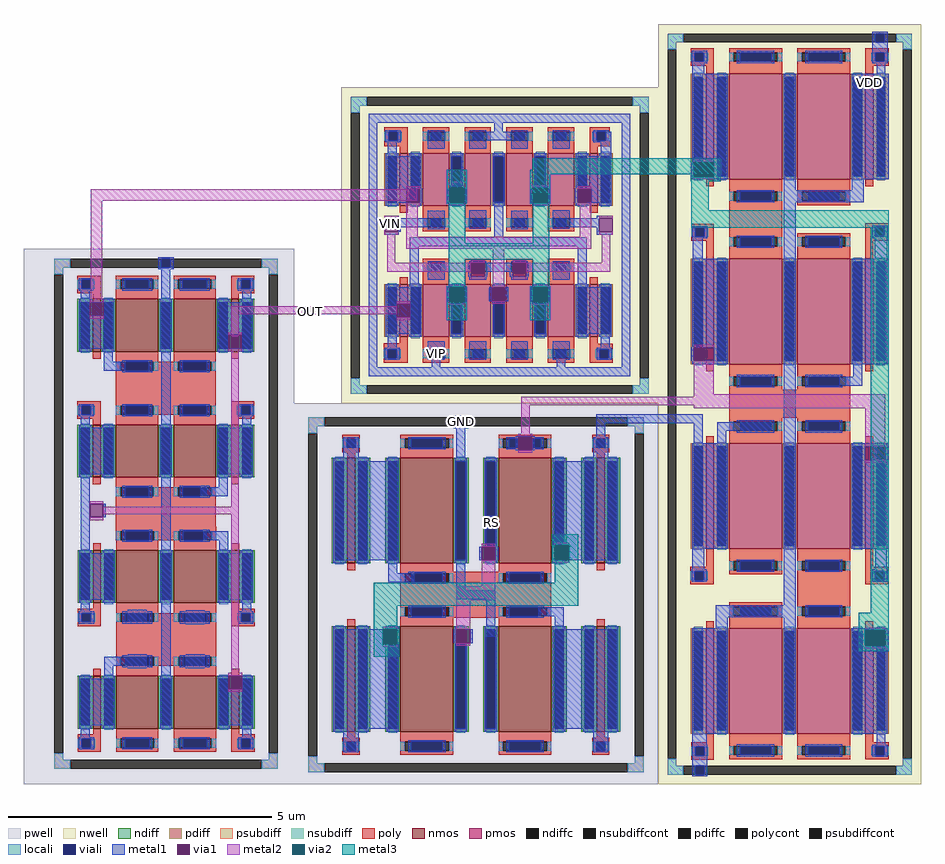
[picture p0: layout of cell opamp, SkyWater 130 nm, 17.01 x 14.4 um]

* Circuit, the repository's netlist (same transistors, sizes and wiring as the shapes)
** sch_path: /home/surya/opamp/mag/opamp.sch
.subckt opamp VDD GND RS OUT VIP VIN
*.PININFO VDD:B GND:B RS:B OUT:B VIP:I VIN:I
x1 VDD net1 net2 net3 pmoscs
x2 net1 VIP VIN VDD OUT net4 pmosamp
x3 net4 OUT GND nmosamp
x4 net2 net3 RS GND nmoscs
.ends

* expanding   symbol:  pmoscs.sym # of pins=4
** sym_path: /home/surya/opamp/mag/pmoscs.sym
** sch_path: /home/surya/opamp/mag/pmoscs.sch
.subckt pmoscs vdd D5 D1 D2
*.PININFO vdd:B D5:B D2:B D1:B
XM1 D1 D2 vdd vdd sky130_fd_pr__pfet_01v8 L=1 W=2 nf=1 m=2
XM2 D2 D2 vdd vdd sky130_fd_pr__pfet_01v8 L=1 W=2 nf=1 m=2
XM5 D5 D2 vdd vdd sky130_fd_pr__pfet_01v8 L=1 W=2 nf=1 m=2
XM3 vdd vdd vdd vdd sky130_fd_pr__pfet_01v8 L=0.15 W=2 nf=1 m=2
XM4 D1 D1 D1 vdd sky130_fd_pr__pfet_01v8 L=0.15 W=2 nf=1 m=2
XM6 D2 D2 D2 vdd sky130_fd_pr__pfet_01v8 L=0.15 W=2 nf=1 m=2
XM7 D5 D5 D5 vdd sky130_fd_pr__pfet_01v8 L=0.15 W=2 nf=1 m=2
XM8 vdd vdd vdd vdd sky130_fd_pr__pfet_01v8 L=1 W=2 nf=1 m=2
.ends


* expanding   symbol:  pmosamp.sym # of pins=6
** sym_path: /home/surya/opamp/mag/pmosamp.sym
** sch_path: /home/surya/opamp/mag/pmosamp.sch
.subckt pmosamp S67 vip vin VDD OUT D6
*.PININFO vip:I vin:I D6:B OUT:B VDD:B S67:B
XM6 D6 vin S67 VDD sky130_fd_pr__pfet_01v8 L=0.5 W=1 nf=1 m=4
XM7 OUT vip S67 VDD sky130_fd_pr__pfet_01v8 L=0.5 W=1 nf=1 m=4
XM1 D6 D6 D6 VDD sky130_fd_pr__pfet_01v8 L=0.15 W=1 nf=1 m=2
XM2 OUT OUT OUT VDD sky130_fd_pr__pfet_01v8 L=0.15 W=1 nf=1 m=2
.ends


* expanding   symbol:  nmosamp.sym # of pins=3
** sym_path: /home/surya/opamp/mag/nmosamp.sym
** sch_path: /home/surya/opamp/mag/nmosamp.sch
.subckt nmosamp D8 OUT gnd
*.PININFO gnd:B D8:B OUT:B
XM8 D8 D8 gnd gnd sky130_fd_pr__nfet_01v8 L=0.8 W=1 nf=1 m=4
XM9 OUT D8 gnd gnd sky130_fd_pr__nfet_01v8 L=0.8 W=1 nf=1 m=4
XM1 D8 D8 D8 gnd sky130_fd_pr__nfet_01v8 L=0.15 W=1 nf=1 m=4
XM2 OUT OUT OUT gnd sky130_fd_pr__nfet_01v8 L=0.15 W=1 nf=1 m=4
.ends


* expanding   symbol:  nmoscs.sym # of pins=4
** sym_path: /home/surya/opamp/mag/nmoscs.sym
** sch_path: /home/surya/opamp/mag/nmoscs.sch
.subckt nmoscs D3 D4 rs gnd
*.PININFO rs:B D3:B D4:B gnd:B
XM3 D3 D3 gnd gnd sky130_fd_pr__nfet_01v8 L=1 W=2 nf=1 m=2
XM4 D4 D3 rs gnd sky130_fd_pr__nfet_01v8 L=1 W=2 nf=1 m=2
XM1 D3 D3 D3 gnd sky130_fd_pr__nfet_01v8 L=0.15 W=2 nf=1 m=2
XM5 D4 D4 D4 gnd sky130_fd_pr__nfet_01v8 L=0.15 W=2 nf=1 m=2
.ends

.end

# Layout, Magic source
magic
tech sky130A
magscale 1 2
<< metal1 >>
rect 3190 2652 3220 2680
rect 241 1774 251 1826
rect 303 1774 313 1826
rect 1404 1768 1414 1820
rect 1466 1768 1476 1820
rect 1543 1613 1583 1647
rect 1640 1355 1674 1389
rect 2170 1367 2574 1401
rect 1865 1265 1875 1317
rect 1927 1265 1937 1317
rect 2170 1308 2204 1367
rect 2540 1253 2574 1367
rect 1755 968 1787 1017
<< via1 >>
rect 251 1774 303 1826
rect 1414 1768 1466 1820
rect 1875 1265 1927 1317
<< metal2 >>
rect 255 2211 1491 2254
rect 255 1836 298 2211
rect 1378 2105 1409 2144
rect 251 1826 303 1836
rect 1414 1820 1466 1830
rect 251 1764 303 1774
rect 786 1780 1414 1810
rect 786 1697 816 1780
rect 1414 1758 1466 1768
rect 1885 1436 2589 1468
rect 1885 1327 1917 1436
rect 1875 1317 1927 1327
rect 1875 1255 1927 1265
<< metal3 >>
rect 1930 2310 2616 2372
rect 1930 2239 1992 2310
use nmosamp  nmosamp_0
transform 1 0 292 0 1 1074
box -292 -1074 733 955
use nmoscs  nmoscs_0
transform 1 0 1370 0 1 748
box -346 -748 1034 694
use pmosamp  pmosamp_0
transform 1 0 1407 0 1 2075
box -203 -633 997 565
use pmoscs  pmoscs_0
transform 1 0 2584 0 1 1461
box -180 -1461 818 1419
<< labels >>
flabel metal2 1088 1792 1088 1792 0 FreeSans 2080 0 0 0 OUT
port 0 nsew
flabel metal1 3204 2658 3204 2658 0 FreeSans 2080 0 0 0 VDD
port 1 nsew
flabel metal1 1659 1372 1659 1372 0 FreeSans 2080 0 0 0 GND
port 2 nsew
flabel metal2 1389 2123 1389 2123 0 FreeSans 2080 0 0 0 VIN
port 3 nsew
flabel metal1 1563 1630 1563 1630 0 FreeSans 2080 0 0 0 VIP
port 4 nsew
flabel metal1 1773 991 1773 991 0 FreeSans 2080 0 0 0 RS
port 5 nsew
<< end >>

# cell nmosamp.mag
magic
tech sky130A
magscale 1 2
<< pwell >>
rect -292 -1074 733 955
<< psubdiff >>
rect -176 883 -116 917
rect 611 883 671 917
rect -176 857 -142 883
rect 637 857 671 883
rect -176 -983 -142 -957
rect 637 -983 671 -957
rect -176 -1017 -116 -983
rect 611 -1017 671 -983
<< psubdiffcont >>
rect -116 883 611 917
rect -176 -957 -142 857
rect 637 -957 671 857
rect -116 -1017 611 -983
<< poly >>
rect -88 836 0 852
rect -88 802 -72 836
rect -38 802 0 836
rect -88 786 0 802
rect -30 780 0 786
rect 494 836 582 852
rect 494 802 532 836
rect 566 802 582 836
rect 494 786 582 802
rect 494 784 524 786
rect -88 360 0 376
rect -88 326 -72 360
rect -38 326 0 360
rect 58 326 436 526
rect 494 360 582 376
rect 494 326 532 360
rect 566 326 582 360
rect -88 314 0 326
rect -88 310 -22 314
rect 494 310 582 326
rect 494 306 524 310
rect 58 -150 436 50
rect 495 -410 525 -384
rect -87 -411 -21 -410
rect -87 -426 1 -411
rect 495 -426 583 -410
rect -87 -460 -71 -426
rect -37 -460 1 -426
rect -87 -476 1 -460
rect 59 -626 437 -426
rect 495 -460 533 -426
rect 567 -460 583 -426
rect 495 -476 583 -460
rect -29 -886 1 -866
rect -87 -902 1 -886
rect -87 -936 -71 -902
rect -37 -936 1 -902
rect -87 -952 1 -936
rect 495 -886 525 -866
rect 495 -902 583 -886
rect 495 -936 533 -902
rect 567 -936 583 -902
rect 495 -952 583 -936
<< polycont >>
rect -72 802 -38 836
rect 532 802 566 836
rect -72 326 -38 360
rect 532 326 566 360
rect -71 -460 -37 -426
rect 533 -460 567 -426
rect -71 -936 -37 -902
rect 533 -936 567 -902
<< locali >>
rect -176 883 -116 917
rect 611 883 671 917
rect -176 857 -142 883
rect 637 857 671 883
rect -88 802 -72 836
rect -38 802 -22 836
rect 516 802 532 836
rect 566 802 582 836
rect -88 326 -72 360
rect -38 326 -22 360
rect 516 326 532 360
rect 566 326 582 360
rect -87 -460 -71 -426
rect -37 -460 -21 -426
rect 517 -460 533 -426
rect 567 -460 583 -426
rect -87 -936 -71 -902
rect -37 -936 -21 -902
rect 517 -936 533 -902
rect 567 -936 583 -902
rect -176 -983 -142 -957
rect 637 -983 671 -957
rect -176 -1017 -116 -983
rect 611 -1017 671 -983
<< viali >>
rect 230 883 264 917
rect -72 802 -38 836
rect 532 802 566 836
rect -72 326 -38 360
rect 532 326 566 360
rect -71 -460 -37 -426
rect 533 -460 567 -426
rect -71 -936 -37 -902
rect 533 -936 567 -902
<< metal1 >>
rect 218 917 276 923
rect 218 883 230 917
rect 264 883 276 917
rect 218 877 276 883
rect -84 836 -26 842
rect -84 802 -72 836
rect -38 802 -26 836
rect -84 796 -26 802
rect -76 752 -42 796
rect 230 752 264 877
rect 520 836 578 842
rect 520 802 532 836
rect 566 802 578 836
rect 520 796 578 802
rect 536 752 570 796
rect -76 576 46 752
rect 12 526 46 576
rect 12 492 86 526
rect -84 360 -26 366
rect -84 326 -72 360
rect -38 326 -26 360
rect -84 320 -26 326
rect -76 276 -42 320
rect -76 100 46 276
rect -76 -12 -41 100
rect -76 -64 -42 -12
rect 10 -64 20 -12
rect -76 -200 -41 -64
rect -76 -212 47 -200
rect -75 -376 47 -212
rect -75 -420 -41 -376
rect -83 -426 -25 -420
rect -83 -460 -71 -426
rect -37 -460 -25 -426
rect -83 -466 -25 -460
rect 103 -466 175 -414
rect 102 -592 174 -583
rect 13 -626 174 -592
rect 13 -676 47 -626
rect 102 -635 174 -626
rect -75 -852 47 -676
rect 230 -852 265 752
rect 448 628 570 752
rect 448 576 483 628
rect 535 576 570 628
rect 520 360 578 366
rect 520 326 532 360
rect 566 326 578 360
rect 520 320 578 326
rect 536 276 570 320
rect 448 100 570 276
rect 448 50 482 100
rect 379 16 482 50
rect 388 -150 483 -116
rect 449 -200 483 -150
rect 449 -376 571 -200
rect 322 -468 394 -416
rect 537 -420 571 -376
rect 521 -426 579 -420
rect 521 -460 533 -426
rect 567 -460 579 -426
rect 521 -466 579 -460
rect 322 -635 394 -583
rect 474 -676 484 -663
rect 449 -715 484 -676
rect 536 -676 546 -663
rect 536 -715 571 -676
rect 449 -852 571 -715
rect -75 -896 -41 -852
rect 537 -896 571 -854
rect -83 -902 -25 -896
rect -83 -936 -71 -902
rect -37 -936 -25 -902
rect -83 -942 -25 -936
rect 521 -902 579 -896
rect 521 -936 533 -902
rect 567 -936 579 -902
rect 521 -942 579 -936
<< via1 >>
rect -42 -64 10 -12
rect 483 576 535 628
rect 484 -715 536 -663
<< metal2 >>
rect 483 628 535 638
rect 483 566 535 576
rect -42 -12 10 -2
rect 495 -24 523 566
rect 10 -52 523 -24
rect -42 -74 10 -64
rect 495 -653 523 -52
rect 484 -663 536 -653
rect 484 -725 536 -715
use sky130_fd_pr__nfet_01v8_5MNGEB  sky130_fd_pr__nfet_01v8_5MNGEB_0
transform 1 0 247 0 1 664
box -247 -188 247 188
use sky130_fd_pr__nfet_01v8_5MNGEB  sky130_fd_pr__nfet_01v8_5MNGEB_1
transform 1 0 247 0 1 188
box -247 -188 247 188
use sky130_fd_pr__nfet_01v8_5MNGEB  sky130_fd_pr__nfet_01v8_5MNGEB_2
transform 1 0 248 0 1 -288
box -247 -188 247 188
use sky130_fd_pr__nfet_01v8_5MNGEB  sky130_fd_pr__nfet_01v8_5MNGEB_3
transform 1 0 248 0 1 -764
box -247 -188 247 188
use sky130_fd_pr__nfet_01v8_6H9P4D  sky130_fd_pr__nfet_01v8_6H9P4D_0
transform 1 0 -14 0 1 -764
box -73 -126 73 126
use sky130_fd_pr__nfet_01v8_6H9P4D  sky130_fd_pr__nfet_01v8_6H9P4D_1
transform 1 0 -14 0 1 -288
box -73 -126 73 126
use sky130_fd_pr__nfet_01v8_6H9P4D  sky130_fd_pr__nfet_01v8_6H9P4D_2
transform 1 0 510 0 1 -288
box -73 -126 73 126
use sky130_fd_pr__nfet_01v8_6H9P4D  sky130_fd_pr__nfet_01v8_6H9P4D_3
transform 1 0 509 0 1 188
box -73 -126 73 126
use sky130_fd_pr__nfet_01v8_6H9P4D  sky130_fd_pr__nfet_01v8_6H9P4D_4
transform 1 0 509 0 1 664
box -73 -126 73 126
use sky130_fd_pr__nfet_01v8_6H9P4D  sky130_fd_pr__nfet_01v8_6H9P4D_5
transform 1 0 -15 0 1 664
box -73 -126 73 126
use sky130_fd_pr__nfet_01v8_6H9P4D  sky130_fd_pr__nfet_01v8_6H9P4D_6
transform 1 0 -15 0 1 188
box -73 -126 73 126
use sky130_fd_pr__nfet_01v8_6H9P4D  sky130_fd_pr__nfet_01v8_6H9P4D_7
transform 1 0 510 0 1 -764
box -73 -126 73 126
<< labels >>
flabel viali 246 899 246 899 0 FreeSans 480 0 0 0 GND
port 0 nsew
flabel metal1 -21 659 -21 659 0 FreeSans 480 0 0 0 D8
port 1 nsew
flabel metal1 511 668 511 668 0 FreeSans 480 0 0 0 OUT
port 2 nsew
<< end >>

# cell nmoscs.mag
magic
tech sky130A
magscale 1 2
<< pwell >>
rect -346 -748 1034 694
<< psubdiff >>
rect -291 607 -231 641
rect 919 607 979 641
rect -291 581 -257 607
rect 945 581 979 607
rect -291 -669 -257 -643
rect 945 -669 979 -643
rect -291 -703 -231 -669
rect 919 -703 979 -669
<< psubdiffcont >>
rect -231 607 919 641
rect -291 -643 -257 581
rect 945 -643 979 581
rect -231 -703 919 -669
<< poly >>
rect 58 -118 630 56
<< locali >>
rect -291 607 -231 641
rect 919 607 979 641
rect -291 581 -257 607
rect -291 -669 -257 -643
rect 945 581 979 607
rect 945 -669 979 -643
rect -291 -703 -231 -669
rect 919 -703 979 -669
<< viali >>
rect 270 607 304 641
<< metal1 >>
rect 258 641 316 647
rect 258 607 270 641
rect 304 607 316 641
rect 258 601 316 607
rect -158 476 -100 566
rect 270 476 304 601
rect 788 476 846 566
rect -190 106 45 476
rect 642 152 878 476
rect -190 100 46 106
rect 12 50 46 100
rect 12 16 110 50
rect 270 -13 304 101
rect 356 100 366 152
rect 418 100 428 152
rect 632 100 642 152
rect 694 100 878 152
rect 270 -47 418 -13
rect -190 -214 -6 -162
rect 46 -214 56 -162
rect 260 -214 270 -162
rect 322 -214 332 -162
rect 384 -190 418 -47
rect 580 -112 676 -78
rect 642 -162 676 -112
rect -190 -538 46 -214
rect 642 -538 878 -162
rect -158 -628 -100 -538
rect 788 -628 846 -538
<< via1 >>
rect 366 100 418 152
rect 642 100 694 152
rect -6 -214 46 -162
rect 270 -214 322 -162
<< metal2 >>
rect 366 152 418 162
rect 366 1 418 100
rect 642 156 698 166
rect 642 90 698 100
rect 270 -51 418 1
rect -10 -162 46 -152
rect -10 -228 46 -218
rect 270 -162 322 -51
rect 270 -224 322 -214
<< via2 >>
rect 642 152 698 156
rect 642 100 694 152
rect 694 100 698 152
rect -10 -214 -6 -162
rect -6 -214 46 -162
rect -10 -218 46 -214
<< metal3 >>
rect 632 156 732 198
rect 632 100 642 156
rect 698 100 732 156
rect 632 88 732 100
rect 642 14 732 88
rect -44 -72 732 14
rect -44 -150 46 -72
rect -44 -162 56 -150
rect -44 -218 -10 -162
rect 46 -218 56 -162
rect -44 -266 56 -218
use sky130_fd_pr__nfet_01v8_7CP4KT  sky130_fd_pr__nfet_01v8_7CP4KT_0
transform 1 0 -129 0 1 319
box -73 -257 73 257
use sky130_fd_pr__nfet_01v8_7CP4KT  sky130_fd_pr__nfet_01v8_7CP4KT_1
transform 1 0 817 0 1 319
box -73 -257 73 257
use sky130_fd_pr__nfet_01v8_7CYQ2Z  sky130_fd_pr__nfet_01v8_7CYQ2Z_0
transform 1 0 817 0 1 -381
box -73 -257 73 257
use sky130_fd_pr__nfet_01v8_7CYQ2Z  sky130_fd_pr__nfet_01v8_7CYQ2Z_1
transform 1 0 -129 0 1 -381
box -73 -257 73 257
use sky130_fd_pr__nfet_01v8_8UMB6F  sky130_fd_pr__nfet_01v8_8UMB6F_0
transform 1 0 344 0 1 288
box -344 -288 344 288
use sky130_fd_pr__nfet_01v8_8UMB6F  sky130_fd_pr__nfet_01v8_8UMB6F_1
transform 1 0 344 0 1 -350
box -344 -288 344 288
<< labels >>
flabel metal1 24 61 24 61 0 FreeSans 1600 0 0 0 D3
port 0 nsew
flabel metal1 292 565 292 565 0 FreeSans 1600 0 0 0 GND
port 1 nsew
flabel metal2 299 -137 299 -137 0 FreeSans 1600 0 0 0 RS
port 2 nsew
flabel metal3 696 31 696 31 0 FreeSans 1600 0 0 0 D4
port 3 nsew
<< end >>

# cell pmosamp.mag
magic
tech sky130A
magscale 1 2
<< nwell >>
rect -203 -633 997 565
<< nsubdiff >>
rect -167 495 -107 529
rect 901 495 961 529
rect -167 469 -133 495
rect 927 469 961 495
rect -167 -563 -133 -537
rect 927 -563 961 -537
rect -167 -597 -107 -563
rect 901 -597 961 -563
<< nsubdiffcont >>
rect -107 495 901 529
rect -167 -537 -133 469
rect 927 -537 961 469
rect -107 -597 901 -563
<< poly >>
rect -40 397 48 413
rect -40 363 -24 397
rect 10 363 48 397
rect -40 342 48 363
rect 738 397 814 413
rect 738 363 764 397
rect 798 363 814 397
rect 738 341 814 363
rect -43 -428 48 -404
rect -43 -462 -27 -428
rect 7 -462 48 -428
rect -43 -478 48 -462
rect 738 -428 826 -407
rect 738 -462 776 -428
rect 810 -462 826 -428
rect 738 -478 826 -462
<< polycont >>
rect -24 363 10 397
rect 764 363 798 397
rect -27 -462 7 -428
rect 776 -462 810 -428
<< locali >>
rect -167 495 -107 529
rect 901 495 961 529
rect -167 469 -133 495
rect 927 469 961 495
rect -40 363 -24 397
rect 10 363 26 397
rect 748 363 764 397
rect 798 363 814 397
rect -43 -462 -27 -428
rect 7 -462 23 -428
rect 760 -462 776 -428
rect 810 -462 826 -428
rect -167 -563 -133 -537
rect 927 -563 961 -537
rect -167 -597 -107 -563
rect 901 -597 961 -563
<< viali >>
rect -24 363 10 397
rect 764 363 798 397
rect -27 -462 7 -428
rect 776 -462 810 -428
<< metal1 >>
rect -100 431 892 464
rect -100 -496 -67 431
rect -36 397 22 403
rect -36 363 -24 397
rect 10 363 22 397
rect -36 357 22 363
rect -27 307 6 357
rect 124 333 188 403
rect 282 397 346 403
rect 376 397 409 431
rect 440 397 504 403
rect 282 364 504 397
rect 282 333 346 364
rect 440 333 504 364
rect 598 333 662 403
rect 752 397 810 403
rect 752 363 764 397
rect 798 363 820 397
rect 752 357 820 363
rect 780 304 820 357
rect -28 180 94 304
rect 692 292 820 304
rect 692 180 814 292
rect -28 128 42 180
rect 94 128 104 180
rect 199 128 209 180
rect 261 128 271 180
rect -39 69 15 79
rect 124 69 188 98
rect 13 35 188 69
rect 13 17 22 35
rect 124 28 188 35
rect 282 29 346 99
rect -39 7 15 17
rect 376 -4 410 131
rect 515 128 525 180
rect 577 128 587 180
rect 682 128 692 180
rect 744 128 814 180
rect 440 28 504 98
rect 598 69 662 99
rect 764 69 826 79
rect 598 35 774 69
rect 598 29 662 35
rect 764 17 774 35
rect 764 7 826 17
rect 57 -38 726 -4
rect 57 -193 91 -38
rect 124 -164 188 -94
rect 282 -100 346 -94
rect 440 -100 504 -94
rect 278 -152 288 -100
rect 340 -134 446 -100
rect 340 -152 350 -134
rect 436 -152 446 -134
rect 498 -152 508 -100
rect 282 -164 346 -152
rect 440 -164 504 -152
rect 598 -164 662 -94
rect 692 -193 726 -38
rect -31 -369 91 -193
rect 199 -245 209 -193
rect 261 -245 271 -193
rect 357 -245 367 -193
rect 419 -245 429 -193
rect 515 -245 525 -193
rect 577 -245 587 -193
rect 689 -220 811 -193
rect 690 -225 811 -220
rect 689 -364 811 -225
rect 689 -369 814 -364
rect -28 -422 7 -369
rect -39 -428 19 -422
rect -39 -462 -27 -428
rect 7 -462 19 -428
rect -39 -468 19 -462
rect 124 -468 188 -398
rect 282 -468 346 -398
rect 440 -468 504 -398
rect 598 -468 662 -398
rect 780 -422 814 -369
rect 764 -428 822 -422
rect 764 -462 776 -428
rect 810 -462 822 -428
rect 764 -468 822 -462
rect 139 -496 172 -468
rect 613 -496 646 -468
rect 859 -496 892 431
rect -100 -529 892 -496
<< via1 >>
rect 42 128 94 180
rect 209 128 261 180
rect -39 17 13 69
rect 525 128 577 180
rect 692 128 744 180
rect 774 17 826 69
rect 288 -152 340 -100
rect 446 -152 498 -100
rect 209 -245 261 -193
rect 367 -245 419 -193
rect 525 -245 577 -193
<< metal2 >>
rect 218 194 252 207
rect 42 180 94 190
rect 42 116 94 128
rect 207 184 263 194
rect 207 118 263 128
rect 523 184 579 194
rect 523 118 579 128
rect 692 180 744 190
rect 692 118 744 128
rect -40 69 13 79
rect -40 17 -39 69
rect -40 7 13 17
rect -30 -100 2 7
rect 42 -2 86 116
rect 700 -2 744 118
rect 774 69 826 79
rect 774 7 826 17
rect 42 -46 744 -2
rect 288 -100 340 -90
rect -30 -134 288 -100
rect 288 -162 340 -152
rect 371 -183 415 -46
rect 446 -100 498 -90
rect 784 -100 816 7
rect 498 -134 816 -100
rect 446 -162 498 -152
rect 207 -193 263 -183
rect 207 -259 263 -249
rect 367 -193 419 -183
rect 367 -255 419 -245
rect 523 -193 579 -183
rect 523 -259 579 -249
<< via2 >>
rect 207 180 263 184
rect 207 128 209 180
rect 209 128 261 180
rect 261 128 263 180
rect 523 180 579 184
rect 523 128 525 180
rect 525 128 577 180
rect 577 128 579 180
rect 207 -245 209 -193
rect 209 -245 261 -193
rect 261 -245 263 -193
rect 207 -249 263 -245
rect 523 -245 525 -193
rect 525 -245 577 -193
rect 577 -245 579 -193
rect 523 -249 579 -245
<< metal3 >>
rect 197 184 273 253
rect 197 128 207 184
rect 263 128 273 184
rect 197 123 273 128
rect 513 184 589 253
rect 513 128 523 184
rect 579 128 589 184
rect 513 123 589 128
rect 204 -26 266 123
rect 523 -26 585 123
rect 204 -88 585 -26
rect 204 -188 266 -88
rect 523 -188 585 -88
rect 197 -193 273 -188
rect 197 -249 207 -193
rect 263 -249 273 -193
rect 197 -318 273 -249
rect 513 -193 589 -188
rect 513 -249 523 -193
rect 579 -249 589 -193
rect 513 -318 589 -249
use sky130_fd_pr__pfet_01v8_2XUZHN  sky130_fd_pr__pfet_01v8_2XUZHN_0
transform 1 0 753 0 1 -281
box -109 -162 109 162
use sky130_fd_pr__pfet_01v8_2XUZHN  sky130_fd_pr__pfet_01v8_2XUZHN_1
transform 1 0 753 0 1 216
box -109 -162 109 162
use sky130_fd_pr__pfet_01v8_2XUZHN  sky130_fd_pr__pfet_01v8_2XUZHN_2
transform 1 0 33 0 1 216
box -109 -162 109 162
use sky130_fd_pr__pfet_01v8_2XUZHN  sky130_fd_pr__pfet_01v8_2XUZHN_3
transform 1 0 33 0 1 -281
box -109 -162 109 162
use sky130_fd_pr__pfet_01v8_V8EW6L  sky130_fd_pr__pfet_01v8_V8EW6L_0
transform 1 0 393 0 1 216
box -381 -200 381 200
use sky130_fd_pr__pfet_01v8_V8EW6L  sky130_fd_pr__pfet_01v8_V8EW6L_1
transform 1 0 393 0 1 -281
box -381 -200 381 200
<< labels >>
flabel nsubdiffcont 391 507 391 507 0 FreeSans 480 0 0 0 VDD
port 0 nsew
flabel via1 75 151 75 151 0 FreeSans 480 0 0 0 D6
port 1 nsew
flabel via2 232 147 232 147 0 FreeSans 480 0 0 0 S67
port 2 nsew
flabel via1 -16 46 -16 46 0 FreeSans 480 0 0 0 VIN
port 3 nsew
flabel metal1 61 -272 61 -272 0 FreeSans 480 0 0 0 OUT
port 4 nsew
flabel metal1 159 -451 159 -451 0 FreeSans 480 0 0 0 VIP
port 5 nsew
<< end >>

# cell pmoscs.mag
magic
tech sky130A
magscale 1 2
<< nwell >>
rect -180 -1461 818 1419
<< nsubdiff >>
rect -144 1349 -84 1383
rect 722 1349 782 1383
rect -144 1323 -110 1349
rect 748 1323 782 1349
rect -144 -1391 -110 -1365
rect 748 -1391 782 -1365
rect -144 -1425 -84 -1391
rect 722 -1425 782 -1391
<< nsubdiffcont >>
rect -84 1349 722 1383
rect -144 -1365 -110 1323
rect 748 -1365 782 1323
rect -84 -1425 722 -1391
<< poly >>
rect -56 1311 32 1327
rect -56 1277 -40 1311
rect -6 1277 32 1311
rect -56 1261 32 1277
rect 2 1249 32 1261
rect 606 1311 694 1327
rect 606 1277 644 1311
rect 678 1277 694 1311
rect 606 1261 694 1277
rect 606 1238 636 1261
rect -55 647 32 663
rect -55 613 -39 647
rect -5 613 32 647
rect 90 627 290 733
rect 606 648 694 664
rect -55 597 32 613
rect 2 523 32 597
rect 606 614 644 648
rect 678 614 694 648
rect 606 598 694 614
rect 606 553 636 598
rect 90 -73 548 33
rect 2 -638 32 -570
rect -57 -654 32 -638
rect -57 -688 -41 -654
rect -7 -688 32 -654
rect 606 -638 636 -570
rect 606 -654 693 -638
rect -57 -704 32 -688
rect 348 -773 548 -667
rect 606 -688 643 -654
rect 677 -688 693 -654
rect 606 -704 693 -688
rect 2 -1303 32 -1270
rect -55 -1319 32 -1303
rect -55 -1353 -39 -1319
rect -5 -1353 32 -1319
rect -55 -1369 32 -1353
rect 606 -1302 636 -1296
rect 606 -1318 694 -1302
rect 606 -1352 644 -1318
rect 678 -1352 694 -1318
rect 606 -1368 694 -1352
<< polycont >>
rect -40 1277 -6 1311
rect 644 1277 678 1311
rect -39 613 -5 647
rect 644 614 678 648
rect -41 -688 -7 -654
rect 643 -688 677 -654
rect -39 -1353 -5 -1319
rect 644 -1352 678 -1318
<< locali >>
rect -144 1349 -84 1383
rect 722 1349 782 1383
rect -144 1323 -110 1349
rect 748 1323 782 1349
rect -56 1277 -40 1311
rect -6 1277 10 1311
rect 628 1277 644 1311
rect 678 1277 694 1311
rect -55 613 -39 647
rect -5 613 11 647
rect 628 614 644 648
rect 678 614 694 648
rect -57 -688 -41 -654
rect -7 -688 9 -654
rect 627 -688 643 -654
rect 677 -688 693 -654
rect -55 -1353 -39 -1319
rect -5 -1353 11 -1319
rect 628 -1352 644 -1318
rect 678 -1352 694 -1318
rect -144 -1391 -110 -1365
rect 748 -1391 782 -1365
rect -144 -1425 -84 -1391
rect 722 -1425 782 -1391
<< viali >>
rect 644 1349 678 1383
rect -40 1277 -6 1311
rect 644 1277 678 1311
rect -39 613 -5 647
rect 644 614 678 648
rect -41 -688 -7 -654
rect 643 -688 677 -654
rect -39 -1353 -5 -1319
rect 644 -1352 678 -1318
rect -39 -1425 -5 -1391
<< metal1 >>
rect 632 1383 690 1389
rect 632 1349 644 1383
rect 678 1349 690 1383
rect -52 1311 6 1317
rect -52 1277 -40 1311
rect -6 1277 6 1311
rect -52 1271 6 1277
rect 632 1311 690 1349
rect 632 1277 644 1311
rect 678 1277 690 1311
rect 632 1271 690 1277
rect -50 1230 -4 1271
rect 648 1230 682 1271
rect -50 894 84 1230
rect -54 842 -44 894
rect 32 842 84 894
rect -50 830 84 842
rect 296 789 342 1230
rect 554 830 694 1230
rect 554 789 600 830
rect 296 743 600 789
rect -51 647 7 653
rect -51 613 -39 647
rect -5 613 7 647
rect -51 607 7 613
rect -49 530 -10 607
rect -49 194 85 530
rect -54 142 -44 194
rect 32 142 85 194
rect -49 130 85 142
rect 44 -122 250 -90
rect 44 -170 78 -122
rect -50 -570 84 -170
rect -50 -648 -4 -570
rect -53 -654 5 -648
rect -53 -688 -41 -654
rect -7 -688 5 -654
rect -53 -694 5 -688
rect 296 -783 342 743
rect 632 648 690 654
rect 632 614 644 648
rect 678 614 690 648
rect 632 608 690 614
rect 642 530 689 608
rect 555 130 689 530
rect 560 83 594 130
rect 507 49 594 83
rect 554 -182 688 -170
rect 554 -234 606 -182
rect 682 -234 692 -182
rect 554 -570 688 -234
rect 643 -648 687 -570
rect 631 -654 689 -648
rect 631 -688 643 -654
rect 677 -688 689 -654
rect 631 -694 689 -688
rect 38 -829 342 -783
rect 38 -870 84 -829
rect -50 -1270 84 -870
rect 296 -1270 342 -829
rect 555 -882 689 -870
rect 555 -934 606 -882
rect 682 -934 692 -882
rect 555 -1270 689 -934
rect -50 -1313 5 -1270
rect 648 -1312 682 -1270
rect -51 -1319 7 -1313
rect -51 -1353 -39 -1319
rect -5 -1353 7 -1319
rect -51 -1391 7 -1353
rect 632 -1318 690 -1312
rect 632 -1352 644 -1318
rect 678 -1352 690 -1318
rect 632 -1358 690 -1352
rect -51 -1425 -39 -1391
rect -5 -1425 7 -1391
rect -51 -1431 7 -1425
<< via1 >>
rect -44 842 32 894
rect -44 142 32 194
rect 606 -234 682 -182
rect 606 -934 682 -882
<< metal2 >>
rect -44 896 32 906
rect -44 830 32 840
rect -44 194 32 204
rect -44 16 32 142
rect -44 -38 682 16
rect 606 -182 682 -38
rect 606 -244 682 -234
rect 606 -879 682 -869
rect 606 -947 682 -937
<< via2 >>
rect -44 894 32 896
rect -44 842 32 894
rect -44 840 32 842
rect 606 -882 682 -879
rect 606 -934 682 -882
rect 606 -937 682 -934
<< metal3 >>
rect -56 896 58 911
rect -56 840 -44 896
rect 32 840 58 896
rect -56 823 58 840
rect -55 713 12 823
rect -55 646 694 713
rect 627 -812 694 646
rect 580 -879 694 -812
rect 580 -937 606 -879
rect 682 -937 694 -879
rect 580 -958 694 -937
use sky130_fd_pr__pfet_01v8_2ZH9AN  sky130_fd_pr__pfet_01v8_2ZH9AN_0
transform 1 0 17 0 1 -370
box -109 -262 109 262
use sky130_fd_pr__pfet_01v8_2ZH9AN  sky130_fd_pr__pfet_01v8_2ZH9AN_1
transform 1 0 17 0 1 -1070
box -109 -262 109 262
use sky130_fd_pr__pfet_01v8_2ZH9AN  sky130_fd_pr__pfet_01v8_2ZH9AN_2
transform 1 0 621 0 1 -1070
box -109 -262 109 262
use sky130_fd_pr__pfet_01v8_2ZH9AN  sky130_fd_pr__pfet_01v8_2ZH9AN_3
transform 1 0 17 0 1 1030
box -109 -262 109 262
use sky130_fd_pr__pfet_01v8_2ZH9AN  sky130_fd_pr__pfet_01v8_2ZH9AN_4
transform 1 0 621 0 1 -370
box -109 -262 109 262
use sky130_fd_pr__pfet_01v8_2ZH9AN  sky130_fd_pr__pfet_01v8_2ZH9AN_5
transform 1 0 621 0 1 330
box -109 -262 109 262
use sky130_fd_pr__pfet_01v8_2ZH9AN  sky130_fd_pr__pfet_01v8_2ZH9AN_6
transform 1 0 17 0 1 330
box -109 -262 109 262
use sky130_fd_pr__pfet_01v8_2ZH9AN  sky130_fd_pr__pfet_01v8_2ZH9AN_7
transform 1 0 621 0 1 1030
box -109 -262 109 262
use sky130_fd_pr__pfet_01v8_SDE6B7  sky130_fd_pr__pfet_01v8_SDE6B7_0
transform 1 0 319 0 1 330
box -323 -300 323 300
use sky130_fd_pr__pfet_01v8_SDE6B7  sky130_fd_pr__pfet_01v8_SDE6B7_1
transform 1 0 319 0 1 -370
box -323 -300 323 300
use sky130_fd_pr__pfet_01v8_SDE6B7  sky130_fd_pr__pfet_01v8_SDE6B7_2
transform 1 0 319 0 1 1030
box -323 -300 323 300
use sky130_fd_pr__pfet_01v8_SDE6B7  sky130_fd_pr__pfet_01v8_SDE6B7_3
transform 1 0 319 0 1 -1070
box -323 -300 323 300
<< labels >>
flabel metal1 662 1338 662 1338 0 FreeSans 1600 0 0 0 VDD
port 0 nsew
flabel metal2 -10 42 -10 42 0 FreeSans 1600 0 0 0 D1
port 1 nsew
flabel metal1 568 74 568 74 0 FreeSans 1600 0 0 0 D2
port 2 nsew
flabel metal3 664 -762 664 -762 0 FreeSans 1600 0 0 0 D5
port 3 nsew
<< end >>

# cell sky130_fd_pr__pfet_01v8_2ZH9AN: kit device sky130_fd_pr__pfet_01v8, w 2 l 0.15 m 1 nf 1 diffcov 100 polycov 100 guard 0 glc 1 grc 1 gtc 1 gbc 1 tbcov 100 rlcov 100 topc 0 botc 0 poverlap 0 doverlap 1 lmin 0.15 wmin 0.42 compatible {sky130_fd_pr__pfet_01v8 sky130_fd_pr__pfet_01v8_lvt sky130_fd_pr__pfet_01v8_hvt sky130_fd_pr__pfet_g5v0d10v5} full_metal 1 viasrc 100 viadrn 100 viagate 100 viagb 0 viagr 0 viagl 0 viagt 0

# cell sky130_fd_pr__pfet_01v8_SDE6B7: kit device sky130_fd_pr__pfet_01v8, w 2 l 1 m 1 nf 2 diffcov 100 polycov 100 guard 0 glc 1 grc 1 gtc 1 gbc 1 tbcov 100 rlcov 100 topc 1 botc 1 poverlap 0 doverlap 1 lmin 0.15 wmin 0.42 compatible {sky130_fd_pr__pfet_01v8 sky130_fd_pr__pfet_01v8_lvt sky130_fd_pr__pfet_01v8_hvt sky130_fd_pr__pfet_g5v0d10v5} full_metal 1 viasrc 100 viadrn 100 viagate 70 viagb 0 viagr 0 viagl 0 viagt 0

# cell sky130_fd_pr__pfet_01v8_2XUZHN: kit device sky130_fd_pr__pfet_01v8, w 1 l 0.15 m 1 nf 1 diffcov 100 polycov 100 guard 0 glc 1 grc 1 gtc 1 gbc 1 tbcov 100 rlcov 100 topc 0 botc 0 poverlap 0 doverlap 1 lmin 0.15 wmin 0.42 compatible {sky130_fd_pr__pfet_01v8 sky130_fd_pr__pfet_01v8_lvt sky130_fd_pr__pfet_01v8_hvt sky130_fd_pr__pfet_g5v0d10v5} full_metal 1 viasrc 100 viadrn 100 viagate 100 viagb 0 viagr 0 viagl 0 viagt 0

# cell sky130_fd_pr__pfet_01v8_V8EW6L: kit device sky130_fd_pr__pfet_01v8, w 1 l 0.5 m 1 nf 4 diffcov 100 polycov 100 guard 0 glc 1 grc 1 gtc 1 gbc 1 tbcov 100 rlcov 100 topc 1 botc 1 poverlap 0 doverlap 1 lmin 0.15 wmin 0.42 compatible {sky130_fd_pr__pfet_01v8 sky130_fd_pr__pfet_01v8_lvt sky130_fd_pr__pfet_01v8_hvt sky130_fd_pr__pfet_g5v0d10v5} full_metal 1 viasrc 100 viadrn 100 viagate 60 viagb 0 viagr 0 viagl 0 viagt 0

# cell sky130_fd_pr__nfet_01v8_7CP4KT: kit device sky130_fd_pr__nfet_01v8, w 2 l 0.150 m 1 nf 1 diffcov 100 polycov 100 guard 0 glc 1 grc 1 gtc 1 gbc 1 tbcov 100 rlcov 100 topc 1 botc 0 poverlap 0 doverlap 0 lmin 0.15 wmin 0.42 compatible {sky130_fd_pr__nfet_01v8 sky130_fd_pr__nfet_01v8_lvt sky130_fd_bs_flash__special_sonosfet_star sky130_fd_pr__nfet_g5v0d10v5 sky130_fd_pr__nfet_05v0_nvt sky130_fd_pr__nfet_03v3_nvt} full_metal 1 viasrc 100 viadrn 100 viagate 100 viagb 0 viagr 0 viagl 0 viagt 0

# cell sky130_fd_pr__nfet_01v8_7CYQ2Z: kit device sky130_fd_pr__nfet_01v8, w 2 l 0.150 m 1 nf 1 diffcov 100 polycov 100 guard 0 glc 1 grc 1 gtc 1 gbc 1 tbcov 100 rlcov 100 topc 0 botc 1 poverlap 0 doverlap 0 lmin 0.15 wmin 0.42 compatible {sky130_fd_pr__nfet_01v8 sky130_fd_pr__nfet_01v8_lvt sky130_fd_bs_flash__special_sonosfet_star sky130_fd_pr__nfet_g5v0d10v5 sky130_fd_pr__nfet_05v0_nvt sky130_fd_pr__nfet_03v3_nvt} full_metal 1 viasrc 100 viadrn 100 viagate 100 viagb 0 viagr 0 viagl 0 viagt 0

# cell sky130_fd_pr__nfet_01v8_8UMB6F: kit device sky130_fd_pr__nfet_01v8, w 2 l 1 m 1 nf 2 diffcov 100 polycov 100 guard 0 glc 1 grc 1 gtc 1 gbc 1 tbcov 100 rlcov 100 topc 1 botc 1 poverlap 0 doverlap 0 lmin 0.15 wmin 0.42 compatible {sky130_fd_pr__nfet_01v8 sky130_fd_pr__nfet_01v8_lvt sky130_fd_bs_flash__special_sonosfet_star sky130_fd_pr__nfet_g5v0d10v5 sky130_fd_pr__nfet_05v0_nvt sky130_fd_pr__nfet_03v3_nvt} full_metal 1 viasrc 100 viadrn 100 viagate 70 viagb 0 viagr 0 viagl 0 viagt 0

# cell sky130_fd_pr__nfet_01v8_5MNGEB: kit device sky130_fd_pr__nfet_01v8, w 1 l 0.8 m 1 nf 2 diffcov 100 polycov 100 guard 0 glc 1 grc 1 gtc 1 gbc 1 tbcov 100 rlcov 100 topc 1 botc 1 poverlap 0 doverlap 1 lmin 0.15 wmin 0.42 compatible {sky130_fd_pr__nfet_01v8 sky130_fd_pr__nfet_01v8_lvt sky130_fd_bs_flash__special_sonosfet_star sky130_fd_pr__nfet_g5v0d10v5 sky130_fd_pr__nfet_05v0_nvt sky130_fd_pr__nfet_03v3_nvt} full_metal 1 viasrc 100 viadrn 100 viagate 70 viagb 0 viagr 0 viagl 0 viagt 0

# cell sky130_fd_pr__nfet_01v8_6H9P4D: kit device sky130_fd_pr__nfet_01v8, w 1 l 0.150 m 1 nf 1 diffcov 100 polycov 100 guard 0 glc 1 grc 1 gtc 1 gbc 1 tbcov 100 rlcov 100 topc 0 botc 0 poverlap 0 doverlap 1 lmin 0.15 wmin 0.42 compatible {sky130_fd_pr__nfet_01v8 sky130_fd_pr__nfet_01v8_lvt sky130_fd_bs_flash__special_sonosfet_star sky130_fd_pr__nfet_g5v0d10v5 sky130_fd_pr__nfet_05v0_nvt sky130_fd_pr__nfet_03v3_nvt} full_metal 1 viasrc 100 viadrn 100 viagate 100 viagb 0 viagr 0 viagl 0 viagt 0
